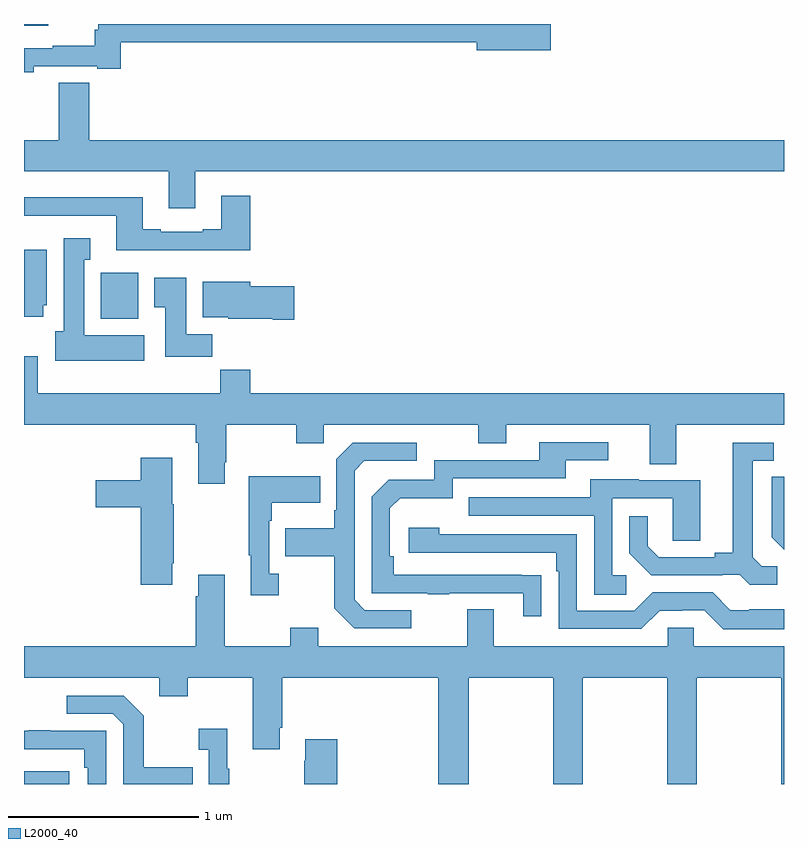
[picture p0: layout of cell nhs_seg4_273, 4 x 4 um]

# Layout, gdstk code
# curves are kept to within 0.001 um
import gdstk
lib = gdstk.Library(unit=1e-6, precision=1e-09)
def R(c, l, rs):  # rectangles x0, y0, x1, y1
    for r in rs: c.add(gdstk.rectangle(r[:2], r[2:], *l))
def P(c, l, *ps):  # polygons
    for p in ps: c.add(gdstk.Polygon(p, *l))
L2000_40 = (2000, 40)

nhs_seg4_273 = lib.new_cell('nhs_seg4_273')
R(nhs_seg4_273, L2000_40, [(123,822.9,123.238,822.966), (123.404,825.35,123.601,825.592), (123,826.892,123.127,826.9)])
P(nhs_seg4_273, L2000_40, [(123.051,826.677),(123.386,826.677),(123.386,826.665),(123.509,826.665),(123.509,826.804),(125.384,826.804),(125.384,826.762),(125.773,826.762),(125.773,826.9),(123.392,826.9),(123.392,826.87),(123.373,826.87),(123.373,826.786),(123.151,826.786),(123.151,826.773),(123,826.773),(123,826.645),(123.051,826.645)],
  [(123.901,826.124),(127,826.124),(127,826.288),(123.344,826.288),(123.344,826.592),(123.184,826.592),(123.184,826.288),(123,826.288),(123,826.124),(123.761,826.124),(123.761,825.93),(123.901,825.93)],
  [(124.19,825.997),(124.037,825.997),(124.037,825.82),(123.941,825.82),(123.941,825.807),(123.721,825.807),(123.721,825.82),(123.625,825.82),(123.625,825.988),(123,825.988),(123,825.891),(123.485,825.891),(123.485,825.71),(124.19,825.71)],
  [(123.634,825.262),(123.316,825.262),(123.316,825.659),(123.349,825.659),(123.349,825.772),(123.209,825.772),(123.209,825.282),(123.164,825.282),(123.164,825.128),(123.634,825.128)],
  [(123.1,825.42),(123.121,825.42),(123.121,825.712),(123,825.712),(123,825.36),(123.1,825.36)],
  [(123.992,825.268),(123.853,825.268),(123.853,825.565),(123.686,825.565),(123.686,825.409),(123.743,825.409),(123.743,825.15),(123.992,825.15)],
  [(124.423,825.521),(124.192,825.521),(124.192,825.544),(123.941,825.544),(123.941,825.356),(124.074,825.356),(124.074,825.35),(124.31,825.35),(124.31,825.343),(124.423,825.343)],
  [(124.057,824.593),(124.065,824.593),(124.065,824.792),(124.432,824.792),(124.432,824.693),(124.578,824.693),(124.578,824.792),(125.392,824.792),(125.392,824.693),(125.539,824.693),(125.539,824.792),(126.293,824.792),(126.293,824.584),(126.433,824.584),(126.433,824.792),(127,824.792),(127,824.956),(124.19,824.956),(124.19,825.08),(124.033,825.08),(124.033,824.956),(123.073,824.956),(123.073,825.151),(123,825.151),(123,824.792),(123.905,824.792),(123.905,824.696),(123.917,824.696),(123.917,824.481),(124.057,824.481)],
  [(125.723,824),(124.946,824.001),(124.946,824.098),(124.926,824.098),(124.926,824.352),(124.979,824.405),(125.256,824.405),(125.256,824.508),(125.851,824.508),(125.851,824.604),(126.076,824.604),(126.076,824.7),(125.711,824.7),(125.711,824.604),(125.16,824.604),(125.16,824.502),(124.92,824.502),(124.83,824.412),(124.83,823.905),(125.125,823.905),(125.125,823.9),(125.237,823.9),(125.237,823.905),(125.627,823.905),(125.627,823.782),(125.723,823.782)],
  [(126.964,824.046),(126.882,824.046),(126.835,824.093),(126.835,824.601),(126.946,824.601),(126.946,824.697),(126.731,824.697),(126.731,824.117),(126.635,824.117),(126.635,824.094),(126.34,824.094),(126.283,824.151),(126.283,824.308),(126.186,824.308),(126.186,824.114),(126.302,823.998),(126.674,823.998),(126.674,824.001),(126.768,824.001),(126.82,823.949),(126.964,823.949)],
  [(125.038,823.815),(124.794,823.815),(124.74,823.869),(124.74,824.55),(124.791,824.601),(125.068,824.601),(125.068,824.697),(124.731,824.697),(124.644,824.61),(124.644,824.341),(124.632,824.341),(124.632,824.245),(124.375,824.245),(124.375,824.098),(124.632,824.098),(124.632,823.825),(124.737,823.719),(125.038,823.719)],
  [(123.781,824.062),(123.789,824.062),(123.789,824.373),(123.781,824.373),(123.781,824.617),(123.614,824.617),(123.614,824.499),(123.378,824.499),(123.378,824.357),(123.614,824.357),(123.614,823.95),(123.781,823.95)],
  [(124.342,824.006),(124.29,824.006),(124.29,824.285),(124.303,824.285),(124.303,824.381),(124.559,824.381),(124.559,824.521),(124.182,824.521),(124.182,824.105),(124.193,824.105),(124.193,823.893),(124.342,823.893)],
  [(127,824.516),(126.936,824.516),(126.936,824.198),(127,824.134)],
  [(126.169,823.998),(126.096,823.998),(126.096,824.403),(126.414,824.403),(126.414,824.179),(126.559,824.179),(126.559,824.499),(126.235,824.499),(126.235,824.503),(125.981,824.503),(125.981,824.409),(125.341,824.409),(125.341,824.313),(126,824.313),(126,823.897),(126.169,823.897)],
  [(127,823.819),(126.817,823.819),(126.817,823.815),(126.717,823.815),(126.624,823.908),(126.309,823.908),(126.213,823.812),(125.91,823.812),(125.91,824.214),(125.186,824.214),(125.186,824.248),(125.025,824.248),(125.025,824.118),(125.801,824.118),(125.801,824.021),(125.814,824.021),(125.814,823.716),(126.249,823.716),(126.345,823.812),(126.464,823.812),(126.464,823.815),(126.579,823.815),(126.679,823.715),(127,823.715)],
  [(125.34,823.46),(125.785,823.46),(125.785,822.9),(125.94,822.9),(125.94,823.46),(126.385,823.46),(126.385,822.9),(126.54,822.9),(126.54,823.46),(126.985,823.46),(126.985,822.9),(127,822.9),(127,823.624),(126.525,823.624),(126.525,823.722),(126.387,823.722),(126.387,823.624),(125.473,823.624),(125.473,823.819),(125.333,823.819),(125.333,823.624),(124.549,823.624),(124.549,823.723),(124.402,823.723),(124.402,823.624),(124.057,823.624),(124.057,824.002),(123.917,824.002),(123.917,823.889),(123.905,823.889),(123.905,823.624),(123,823.624),(123,823.46),(123.713,823.46),(123.713,823.361),(123.861,823.361),(123.861,823.46),(124.205,823.46),(124.205,823.083),(124.345,823.083),(124.345,823.195),(124.358,823.195),(124.358,823.46),(125.18,823.46),(125.18,822.9),(125.34,822.9)],
  [(123.887,822.987),(123.631,822.987),(123.631,823.259),(123.525,823.365),(123.225,823.365),(123.225,823.269),(123.468,823.269),(123.522,823.215),(123.522,822.9),(123.887,822.9)],
  [(124.081,822.979),(124.069,822.979),(124.069,823.192),(123.921,823.192),(123.921,823.079),(123.972,823.079),(123.972,822.9),(124.081,822.9)],
  [(123.432,823.179),(123.137,823.179),(123.137,823.184),(123.025,823.184),(123.025,823.179),(123,823.179),(123,823.083),(123.316,823.083),(123.316,822.986),(123.336,822.986),(123.336,822.9),(123.432,822.9)],
  [(124.649,823.135),(124.481,823.135),(124.481,823.022),(124.474,823.022),(124.474,822.9),(124.649,822.9)])

lib.write_gds('nhs_seg4_273.gds')
